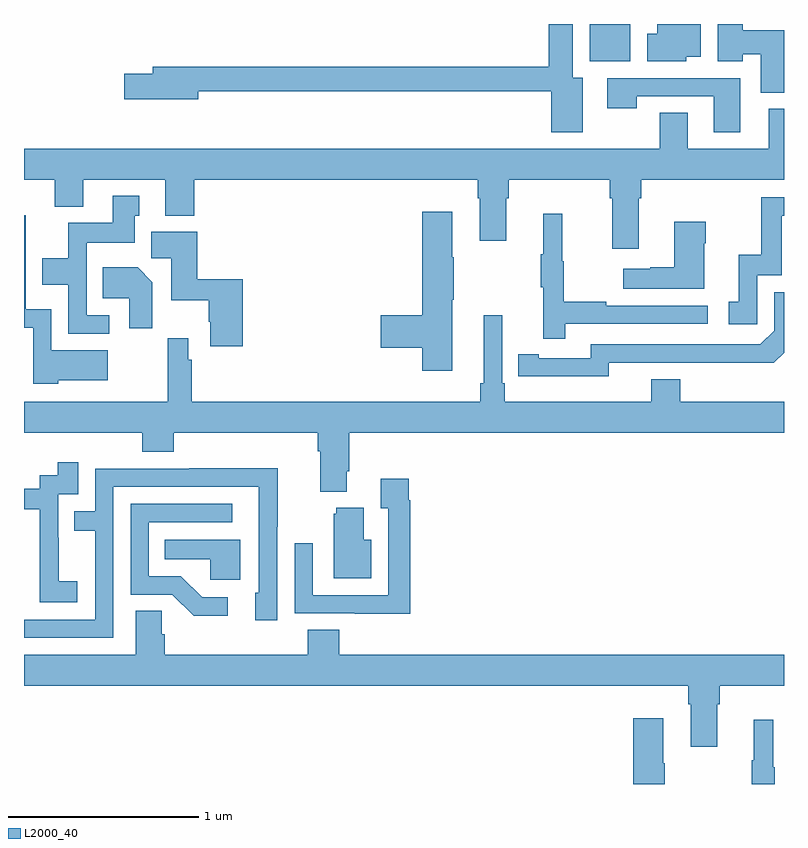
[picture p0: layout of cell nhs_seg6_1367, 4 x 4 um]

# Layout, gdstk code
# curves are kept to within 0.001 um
import gdstk
lib = gdstk.Library(unit=1e-6, precision=1e-09)
def R(c, l, rs):  # rectangles x0, y0, x1, y1
    for r in rs: c.add(gdstk.rectangle(r[:2], r[2:], *l))
def P(c, l, *ps):  # polygons
    for p in ps: c.add(gdstk.Polygon(p, *l))
L2000_40 = (2000, 40)

nhs_seg6_1367 = lib.new_cell('nhs_seg6_1367')
R(nhs_seg6_1367, L2000_40, [(197.978,937.304,198.19,937.5)])
P(nhs_seg6_1367, L2000_40, [(197.941,937.216),(197.887,937.216),(197.887,937.5),(197.762,937.5),(197.762,937.274),(195.677,937.274),(195.677,937.238),(195.528,937.238),(195.528,937.103),(195.916,937.103),(195.916,937.146),(197.774,937.146),(197.774,936.93),(197.941,936.93)],
  [(199,937.468),(198.784,937.468),(198.784,937.5),(198.65,937.5),(198.65,937.304),(198.784,937.304),(198.784,937.341),(198.878,937.341),(198.878,937.139),(199,937.139)],
  [(198.486,937.328),(198.562,937.328),(198.562,937.5),(198.332,937.5),(198.332,937.45),(198.281,937.45),(198.281,937.304),(198.486,937.304)],
  [(198.769,937.215),(198.069,937.215),(198.069,937.056),(198.225,937.056),(198.225,937.119),(198.629,937.119),(198.629,936.93),(198.769,936.93)],
  [(195,936.68),(195.161,936.68),(195.161,936.539),(195.313,936.539),(195.313,936.68),(195.743,936.68),(195.743,936.491),(195.896,936.491),(195.896,936.68),(197.387,936.68),(197.387,936.584),(197.399,936.584),(197.399,936.36),(197.539,936.36),(197.539,936.584),(197.552,936.584),(197.552,936.68),(198.083,936.68),(198.083,936.584),(198.095,936.584),(198.095,936.318),(198.235,936.318),(198.235,936.584),(198.248,936.584),(198.248,936.68),(199,936.68),(199,937.054),(198.92,937.054),(198.92,936.844),(198.493,936.844),(198.493,937.034),(198.346,937.034),(198.346,936.844),(195,936.844)],
  [(195.448,935.967),(195.33,935.967),(195.33,936.35),(195.583,936.35),(195.583,936.492),(195.607,936.492),(195.607,936.595),(195.467,936.595),(195.467,936.454),(195.232,936.454),(195.232,936.268),(195.095,936.268),(195.095,936.128),(195.234,936.128),(195.234,935.871),(195.448,935.871)],
  [(198.858,936.177),(198.987,936.177),(198.987,936.492),(199,936.492),(199,936.588),(198.879,936.588),(198.879,936.286),(198.761,936.286),(198.761,936.039),(198.708,936.039),(198.708,935.919),(198.858,935.919)],
  [(197.254,936.049),(197.262,936.049),(197.262,936.272),(197.254,936.272),(197.254,936.511),(197.096,936.511),(197.096,935.966),(196.878,935.966),(196.878,935.795),(197.096,935.795),(197.096,935.676),(197.254,935.676)],
  [(197.849,935.922),(198.598,935.922),(198.598,936.018),(198.065,936.018),(198.065,936.038),(197.842,936.038),(197.842,936.252),(197.834,936.252),(197.834,936.502),(197.732,936.502),(197.732,936.289),(197.721,936.289),(197.721,936.115),(197.732,936.115),(197.732,935.844),(197.849,935.844)],
  [(195.18,935.624),(195.442,935.624),(195.442,935.782),(195.144,935.782),(195.144,935.998),(195.01,935.998),(195.01,936.493),(195,936.493),(195,935.901),(195.048,935.901),(195.048,935.606),(195.18,935.606)],
  [(198.58,936.347),(198.588,936.347),(198.588,936.46),(198.422,936.46),(198.422,936.221),(198.296,936.221),(198.296,936.211),(198.153,936.211),(198.153,936.107),(198.58,936.107)],
  [(196.151,936.157),(195.911,936.157),(195.911,936.406),(195.671,936.406),(195.671,936.268),(195.776,936.268),(195.776,936.047),(195.973,936.047),(195.973,935.932),(195.98,935.932),(195.98,935.805),(196.151,935.805)],
  [(195.676,936.142),(195.598,936.22),(195.415,936.22),(195.415,936.056),(195.554,936.056),(195.554,935.898),(195.676,935.898)],
  [(198.078,935.718),(198.946,935.717),(199,935.77),(199,936.087),(198.948,936.087),(198.948,935.886),(198.876,935.814),(197.982,935.814),(197.982,935.742),(197.71,935.742),(197.71,935.762),(197.602,935.762),(197.602,935.646),(198.078,935.645)],
  [(195.884,935.732),(195.864,935.732),(195.864,935.845),(195.756,935.845),(195.756,935.512),(195,935.512),(195,935.348),(195.623,935.348),(195.623,935.249),(195.788,935.249),(195.788,935.348),(196.547,935.348),(196.547,935.252),(196.559,935.252),(196.559,935.039),(196.699,935.039),(196.699,935.146),(196.712,935.146),(196.712,935.348),(199,935.348),(199,935.512),(198.455,935.512),(198.455,935.629),(198.302,935.629),(198.302,935.512),(197.531,935.512),(197.531,935.608),(197.517,935.608),(197.517,935.968),(197.42,935.968),(197.42,935.608),(197.401,935.608),(197.401,935.512),(195.884,935.512)],
  [(195.28,934.567),(195.182,934.567),(195.182,934.796),(195.18,934.796),(195.18,935.025),(195.285,935.025),(195.285,935.194),(195.177,935.194),(195.177,935.124),(195.084,935.124),(195.084,935.055),(195,935.055),(195,934.947),(195.083,934.947),(195.083,934.663),(195.082,934.663),(195.082,934.457),(195.28,934.457)],
  [(195.471,935.064),(196.235,935.064),(196.235,934.81),(196.236,934.81),(196.236,934.506),(196.217,934.506),(196.217,934.362),(196.332,934.362),(196.332,934.855),(196.335,934.855),(196.335,935.162),(195.871,935.162),(195.871,935.16),(195.375,935.16),(195.375,934.935),(195.265,934.935),(195.265,934.834),(195.375,934.834),(195.375,934.365),(195,934.365),(195,934.269),(195.471,934.269)],
  [(197.033,934.994),(197.026,934.994),(197.026,935.107),(196.877,935.107),(196.877,934.951),(196.917,934.951),(196.917,934.494),(196.521,934.494),(196.521,934.768),(196.425,934.768),(196.425,934.398),(196.741,934.398),(196.741,934.397),(197.033,934.397)],
  [(196.072,934.482),(195.937,934.482),(195.826,934.593),(195.657,934.593),(195.657,934.878),(196.096,934.878),(196.096,934.974),(195.561,934.974),(195.561,934.497),(195.78,934.497),(195.893,934.385),(196.072,934.385)],
  [(196.828,934.786),(196.789,934.786),(196.789,934.954),(196.643,934.954),(196.643,934.923),(196.631,934.923),(196.631,934.583),(196.828,934.583)],
  [(196.138,934.786),(195.742,934.786),(195.742,934.682),(195.981,934.682),(195.981,934.574),(196.138,934.574)],
  [(198.649,933.92),(198.662,933.92),(198.662,934.016),(199,934.016),(199,934.18),(196.658,934.18),(196.658,934.313),(196.493,934.313),(196.493,934.18),(195.74,934.18),(195.74,934.289),(195.726,934.289),(195.726,934.412),(195.587,934.412),(195.587,934.18),(195,934.18),(195,934.016),(198.497,934.016),(198.497,933.92),(198.509,933.92),(198.509,933.696),(198.649,933.696)],
  [(198.372,933.608),(198.364,933.608),(198.364,933.847),(198.206,933.847),(198.206,933.5),(198.372,933.5)],
  [(198.952,933.588),(198.944,933.588),(198.944,933.838),(198.842,933.838),(198.842,933.625),(198.831,933.625),(198.831,933.5),(198.952,933.5)])

lib.write_gds('nhs_seg6_1367.gds')
